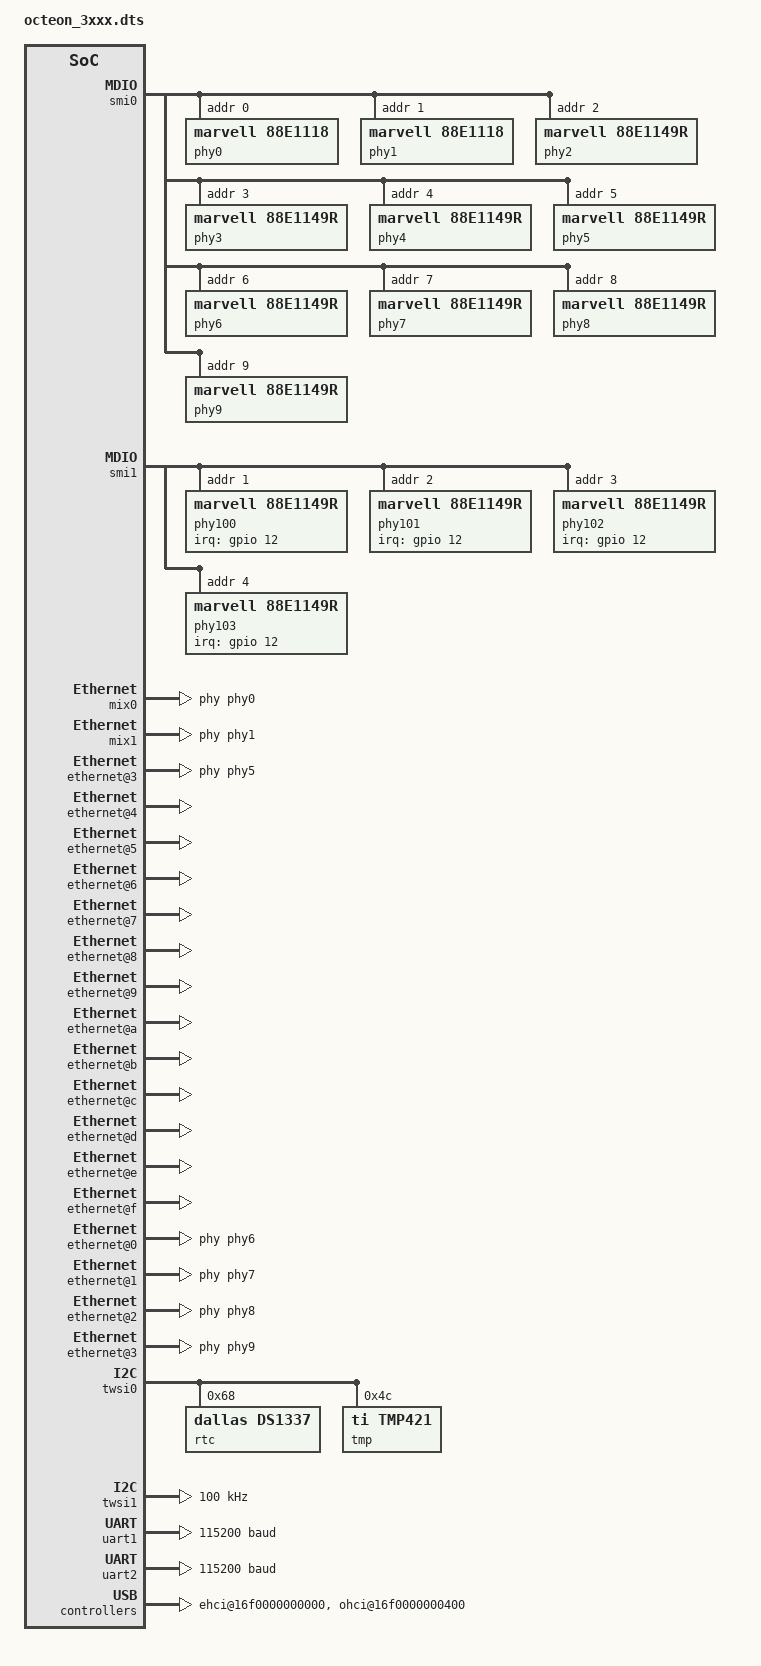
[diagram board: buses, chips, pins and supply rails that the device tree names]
// SPDX-License-Identifier: GPL-2.0
/*
 * OCTEON 3XXX, 5XXX, 63XX device tree skeleton.
 *
 * This device tree is pruned and patched by early boot code before
 * use.	 Because of this, it contains a super-set of the available
 * devices and properties.
 */

/include/ "octeon_3xxx.dtsi"

/ {
	soc@0 {
		smi0: mdio@1180000001800 {
			phy0: ethernet-phy@0 {
				compatible = "marvell,88e1118";
				marvell,reg-init =
					/* Fix rx and tx clock transition timing */
					<2 0x15 0xffcf 0>, /* Reg 2,21 Clear bits 4, 5 */
					/* Adjust LED drive. */
					<3 0x11 0 0x442a>, /* Reg 3,17 <- 0442a */
					/* irq, blink-activity, blink-link */
					<3 0x10 0 0x0242>; /* Reg 3,16 <- 0x0242 */
				reg = <0>;
			};

			phy1: ethernet-phy@1 {
				compatible = "marvell,88e1118";
				marvell,reg-init =
					/* Fix rx and tx clock transition timing */
					<2 0x15 0xffcf 0>, /* Reg 2,21 Clear bits 4, 5 */
					/* Adjust LED drive. */
					<3 0x11 0 0x442a>, /* Reg 3,17 <- 0442a */
					/* irq, blink-activity, blink-link */
					<3 0x10 0 0x0242>; /* Reg 3,16 <- 0x0242 */
				reg = <1>;
			};

			phy2: ethernet-phy@2 {
				reg = <2>;
				compatible = "marvell,88e1149r";
				marvell,reg-init = <3 0x10 0 0x5777>,
					<3 0x11 0 0x00aa>,
					<3 0x12 0 0x4105>,
					<3 0x13 0 0x0a60>;
			};
			phy3: ethernet-phy@3 {
				reg = <3>;
				compatible = "marvell,88e1149r";
				marvell,reg-init = <3 0x10 0 0x5777>,
					<3 0x11 0 0x00aa>,
					<3 0x12 0 0x4105>,
					<3 0x13 0 0x0a60>;
			};
			phy4: ethernet-phy@4 {
				reg = <4>;
				compatible = "marvell,88e1149r";
				marvell,reg-init = <3 0x10 0 0x5777>,
					<3 0x11 0 0x00aa>,
					<3 0x12 0 0x4105>,
					<3 0x13 0 0x0a60>;
			};
			phy5: ethernet-phy@5 {
				reg = <5>;
				compatible = "marvell,88e1149r";
				marvell,reg-init = <3 0x10 0 0x5777>,
					<3 0x11 0 0x00aa>,
					<3 0x12 0 0x4105>,
					<3 0x13 0 0x0a60>;
			};

			phy6: ethernet-phy@6 {
				reg = <6>;
				compatible = "marvell,88e1149r";
				marvell,reg-init = <3 0x10 0 0x5777>,
					<3 0x11 0 0x00aa>,
					<3 0x12 0 0x4105>,
					<3 0x13 0 0x0a60>;
			};
			phy7: ethernet-phy@7 {
				reg = <7>;
				compatible = "marvell,88e1149r";
				marvell,reg-init = <3 0x10 0 0x5777>,
					<3 0x11 0 0x00aa>,
					<3 0x12 0 0x4105>,
					<3 0x13 0 0x0a60>;
			};
			phy8: ethernet-phy@8 {
				reg = <8>;
				compatible = "marvell,88e1149r";
				marvell,reg-init = <3 0x10 0 0x5777>,
					<3 0x11 0 0x00aa>,
					<3 0x12 0 0x4105>,
					<3 0x13 0 0x0a60>;
			};
			phy9: ethernet-phy@9 {
				reg = <9>;
				compatible = "marvell,88e1149r";
				marvell,reg-init = <3 0x10 0 0x5777>,
					<3 0x11 0 0x00aa>,
					<3 0x12 0 0x4105>,
					<3 0x13 0 0x0a60>;
			};
		};

		smi1: mdio@1180000001900 {
			compatible = "cavium,octeon-3860-mdio";
			#address-cells = <1>;
			#size-cells = <0>;
			reg = <0x11800 0x00001900 0x0 0x40>;

			phy100: ethernet-phy@1 {
				reg = <1>;
				compatible = "marvell,88e1149r";
				marvell,reg-init = <3 0x10 0 0x5777>,
					<3 0x11 0 0x00aa>,
					<3 0x12 0 0x4105>,
					<3 0x13 0 0x0a60>;
				interrupt-parent = <&gpio>;
				interrupts = <12 8>; /* Pin 12, active low */
			};
			phy101: ethernet-phy@2 {
				reg = <2>;
				compatible = "marvell,88e1149r";
				marvell,reg-init = <3 0x10 0 0x5777>,
					<3 0x11 0 0x00aa>,
					<3 0x12 0 0x4105>,
					<3 0x13 0 0x0a60>;
				interrupt-parent = <&gpio>;
				interrupts = <12 8>; /* Pin 12, active low */
			};
			phy102: ethernet-phy@3 {
				reg = <3>;
				compatible = "marvell,88e1149r";
				marvell,reg-init = <3 0x10 0 0x5777>,
					<3 0x11 0 0x00aa>,
					<3 0x12 0 0x4105>,
					<3 0x13 0 0x0a60>;
				interrupt-parent = <&gpio>;
				interrupts = <12 8>; /* Pin 12, active low */
			};
			phy103: ethernet-phy@4 {
				reg = <4>;
				compatible = "marvell,88e1149r";
				marvell,reg-init = <3 0x10 0 0x5777>,
					<3 0x11 0 0x00aa>,
					<3 0x12 0 0x4105>,
					<3 0x13 0 0x0a60>;
				interrupt-parent = <&gpio>;
				interrupts = <12 8>; /* Pin 12, active low */
			};
		};

		mix0: ethernet@1070000100000 {
			compatible = "cavium,octeon-5750-mix";
			reg = <0x10700 0x00100000 0x0 0x100>, /* MIX */
			      <0x11800 0xE0000000 0x0 0x300>, /* AGL */
			      <0x11800 0xE0000400 0x0 0x400>, /* AGL_SHARED  */
			      <0x11800 0xE0002000 0x0 0x8>;   /* AGL_PRT_CTL */
			cell-index = <0>;
			interrupts = <0 62>, <1 46>;
			local-mac-address = [ 00 00 00 00 00 00 ];
			phy-handle = <&phy0>;
		};

		mix1: ethernet@1070000100800 {
			compatible = "cavium,octeon-5750-mix";
			reg = <0x10700 0x00100800 0x0 0x100>, /* MIX */
			      <0x11800 0xE0000800 0x0 0x300>, /* AGL */
			      <0x11800 0xE0000400 0x0 0x400>, /* AGL_SHARED  */
			      <0x11800 0xE0002008 0x0 0x8>;   /* AGL_PRT_CTL */
			cell-index = <1>;
			interrupts = <1 18>, < 1 46>;
			local-mac-address = [ 00 00 00 00 00 00 ];
			phy-handle = <&phy1>;
		};

		pip: pip@11800a0000000 {
			interface@0 {
				ethernet@0 {
					phy-handle = <&phy2>;
					cavium,alt-phy-handle = <&phy100>;
				};
				ethernet@1 {
					phy-handle = <&phy3>;
					cavium,alt-phy-handle = <&phy101>;
				};
				ethernet@2 {
					phy-handle = <&phy4>;
					cavium,alt-phy-handle = <&phy102>;
				};
				ethernet@3 {
					compatible = "cavium,octeon-3860-pip-port";
					reg = <0x3>; /* Port */
					local-mac-address = [ 00 00 00 00 00 00 ];
					phy-handle = <&phy5>;
					cavium,alt-phy-handle = <&phy103>;
				};
				ethernet@4 {
					compatible = "cavium,octeon-3860-pip-port";
					reg = <0x4>; /* Port */
					local-mac-address = [ 00 00 00 00 00 00 ];
				};
				ethernet@5 {
					compatible = "cavium,octeon-3860-pip-port";
					reg = <0x5>; /* Port */
					local-mac-address = [ 00 00 00 00 00 00 ];
				};
				ethernet@6 {
					compatible = "cavium,octeon-3860-pip-port";
					reg = <0x6>; /* Port */
					local-mac-address = [ 00 00 00 00 00 00 ];
				};
				ethernet@7 {
					compatible = "cavium,octeon-3860-pip-port";
					reg = <0x7>; /* Port */
					local-mac-address = [ 00 00 00 00 00 00 ];
				};
				ethernet@8 {
					compatible = "cavium,octeon-3860-pip-port";
					reg = <0x8>; /* Port */
					local-mac-address = [ 00 00 00 00 00 00 ];
				};
				ethernet@9 {
					compatible = "cavium,octeon-3860-pip-port";
					reg = <0x9>; /* Port */
					local-mac-address = [ 00 00 00 00 00 00 ];
				};
				ethernet@a {
					compatible = "cavium,octeon-3860-pip-port";
					reg = <0xa>; /* Port */
					local-mac-address = [ 00 00 00 00 00 00 ];
				};
				ethernet@b {
					compatible = "cavium,octeon-3860-pip-port";
					reg = <0xb>; /* Port */
					local-mac-address = [ 00 00 00 00 00 00 ];
				};
				ethernet@c {
					compatible = "cavium,octeon-3860-pip-port";
					reg = <0xc>; /* Port */
					local-mac-address = [ 00 00 00 00 00 00 ];
				};
				ethernet@d {
					compatible = "cavium,octeon-3860-pip-port";
					reg = <0xd>; /* Port */
					local-mac-address = [ 00 00 00 00 00 00 ];
				};
				ethernet@e {
					compatible = "cavium,octeon-3860-pip-port";
					reg = <0xe>; /* Port */
					local-mac-address = [ 00 00 00 00 00 00 ];
				};
				ethernet@f {
					compatible = "cavium,octeon-3860-pip-port";
					reg = <0xf>; /* Port */
					local-mac-address = [ 00 00 00 00 00 00 ];
				};
			};

			interface@1 {
				ethernet@0 {
					compatible = "cavium,octeon-3860-pip-port";
					reg = <0x0>; /* Port */
					local-mac-address = [ 00 00 00 00 00 00 ];
					phy-handle = <&phy6>;
				};
				ethernet@1 {
					compatible = "cavium,octeon-3860-pip-port";
					reg = <0x1>; /* Port */
					local-mac-address = [ 00 00 00 00 00 00 ];
					phy-handle = <&phy7>;
				};
				ethernet@2 {
					compatible = "cavium,octeon-3860-pip-port";
					reg = <0x2>; /* Port */
					local-mac-address = [ 00 00 00 00 00 00 ];
					phy-handle = <&phy8>;
				};
				ethernet@3 {
					compatible = "cavium,octeon-3860-pip-port";
					reg = <0x3>; /* Port */
					local-mac-address = [ 00 00 00 00 00 00 ];
					phy-handle = <&phy9>;
				};
			};
		};

		twsi0: i2c@1180000001000 {
			rtc@68 {
				compatible = "dallas,ds1337";
				reg = <0x68>;
			};
			tmp@4c {
				compatible = "ti,tmp421";
				reg = <0x4c>;
			};
		};

		twsi1: i2c@1180000001200 {
			#address-cells = <1>;
			#size-cells = <0>;
			compatible = "cavium,octeon-3860-twsi";
			reg = <0x11800 0x00001200 0x0 0x200>;
			interrupts = <0 59>;
			clock-frequency = <100000>;
		};

		uart1: serial@1180000000c00 {
			compatible = "cavium,octeon-3860-uart","ns16550";
			reg = <0x11800 0x00000c00 0x0 0x400>;
			clock-frequency = <0>;
			current-speed = <115200>;
			reg-shift = <3>;
			interrupts = <0 35>;
		};

		uart2: serial@1180000000400 {
			compatible = "cavium,octeon-3860-uart","ns16550";
			reg = <0x11800 0x00000400 0x0 0x400>;
			clock-frequency = <0>;
			current-speed = <115200>;
			reg-shift = <3>;
			interrupts = <1 16>;
		};

		bootbus: bootbus@1180000000000 {
			led0: led-display@4,0 {
				compatible = "avago,hdsp-253x";
				reg = <4 0x20 0x20>, <4 0 0x20>;
			};

			cf0: compact-flash@5,0 {
				compatible = "cavium,ebt3000-compact-flash";
				reg = <5 0 0x10000>, <6 0 0x10000>;
				cavium,bus-width = <16>;
				cavium,true-ide;
				cavium,dma-engine-handle = <&dma0>;
			};
		};

		uctl: uctl@118006f000000 {
			compatible = "cavium,octeon-6335-uctl";
			reg = <0x11800 0x6f000000 0x0 0x100>;
			ranges; /* Direct mapping */
			#address-cells = <2>;
			#size-cells = <2>;
			/* 12MHz, 24MHz and 48MHz allowed */
			refclk-frequency = <12000000>;
			/* Either "crystal" or "external" */
			refclk-type = "crystal";

			ehci@16f0000000000 {
				compatible = "cavium,octeon-6335-ehci","usb-ehci";
				reg = <0x16f00 0x00000000 0x0 0x100>;
				interrupts = <0 56>;
				big-endian-regs;
			};
			ohci@16f0000000400 {
				compatible = "cavium,octeon-6335-ohci","usb-ohci";
				reg = <0x16f00 0x00000400 0x0 0x100>;
				interrupts = <0 56>;
				big-endian-regs;
			};
		};

		usbn: usbn@1180068000000 {
			/* 12MHz, 24MHz and 48MHz allowed */
			refclk-frequency = <12000000>;
			/* Either "crystal" or "external" */
			refclk-type = "crystal";
		};
	};

	aliases {
		mix0 = &mix0;
		mix1 = &mix1;
		pip = &pip;
		smi0 = &smi0;
		smi1 = &smi1;
		twsi0 = &twsi0;
		twsi1 = &twsi1;
		uart0 = &uart0;
		uart1 = &uart1;
		uart2 = &uart2;
		flash0 = &flash0;
		cf0 = &cf0;
		uctl = &uctl;
		usbn = &usbn;
		led0 = &led0;
	};
 };
